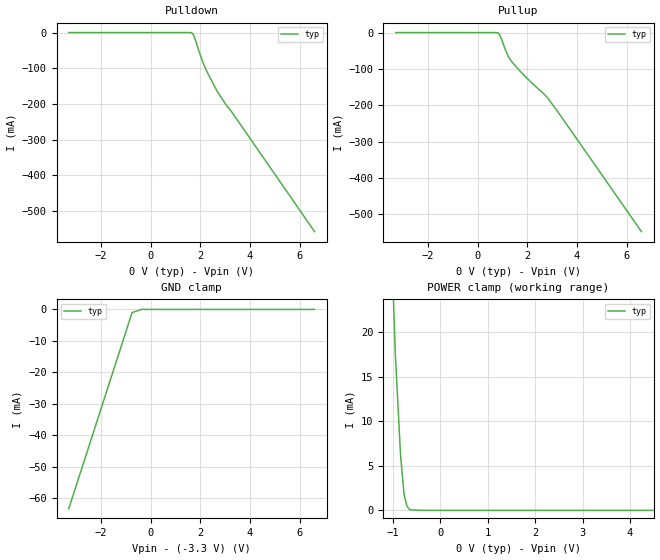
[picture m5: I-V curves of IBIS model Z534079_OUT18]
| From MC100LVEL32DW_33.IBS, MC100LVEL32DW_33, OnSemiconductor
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| (C) COPYRIGHT 1993-2000
| MENTOR GRAPHICS CORPORATION
| ICX STANDARD LIBRARY, ICX PROJECT MODELING,
| ICX CUSTOM MODELING, ICX VENDOR MODEL
| ALL RIGHTS RESERVED.
| THE FOLLOWING ARE TRADEMARKS OR SERVICE MARKS OF
| MENTOR GRAPHICS CORPORATION:ICX (R), ICX STANDARD
| LIBRARY(R), ICX PROJECT MODELING(R), ICX CUSTOM
| MODELING(R), qualityIBIS(TM), MODELVIEWER(TM),
| AND MODELEDITOR(TM)
| ALL COPIES OF SOFTWARE, INCLUDING BUT NOT LIMITED TO
| ANY MODIFICATIONS, ENHANCEMENTS OR DERIVATIVE WORKS,
| MUST CONTAIN ALL MENTOR GRAPHICS CORPORATION'S
| NOTICES AND LEGENDS, INCLUDING THOSE EMBEDDED IN
| SOFTWARE AND THOSE AFFIXED TO SOFTWARE MEDIUM
| AND CONTAINER, AS RECEIVED FROM MENTOR GRAPHICS
| CORPORATION.
| Model Application Version 1.89 2/18/99.
[Model] Z534079_OUT18
Model_type Output_ECL
Vref=-2.000V
Rref=50.00ohms
Cref=0.000F
Vmeas=-1.350V
C_comp 2.000pF NA NA
| variable typ   min   max
[Voltage Range] -3.300V NA NA
[POWER Clamp Reference] 0.000V NA NA
[Pullup Reference] 0.000V NA NA
[Pulldown Reference] 0.000V NA NA
[GND Clamp Reference] -3.300V NA NA
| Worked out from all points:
|   POWER clamp passes 1 mA (typ) near -0.73 V on its own axis
[GND Clamp]
-3.3V     -63.32mA   NA         NA
-752mV    -1.025mA   NA         NA
-376mV    0A         NA         NA
6.6V      0A         NA         NA
[Pulldown]
-3.3V     -11.97uA   NA         NA
1.562V    -26.39uA   NA         NA
1.681V    -2.801mA   NA         NA
1.718V    -6.228mA   NA         NA
1.787V    -17.83mA   NA         NA
1.929V    -49.88mA   NA         NA
2.111V    -85.63mA   NA         NA
2.301V    -114.5mA   NA         NA
2.671V    -164mA     NA         NA
3.049V    -203.7mA   NA         NA
3.256V    -221.5mA   NA         NA
6.6V      -557.1mA   NA         NA
[Pullup]
-3.3V     67.69uA    NA         NA
742.4mV   -50.08uA   NA         NA
839.5mV   -2.09mA    NA         NA
893.2mV   -6.916mA   NA         NA
947mV     -15.21mA   NA         NA
1.163V    -55.56mA   NA         NA
1.266V    -69.32mA   NA         NA
1.359V    -78.54mA   NA         NA
1.858V    -116.7mA   NA         NA
2.816V    -179.2mA   NA         NA
3.257V    -220.3mA   NA         NA
6.6V      -547.6mA   NA         NA
[POWER Clamp]
-3.3V     381.6mA    NA         NA
-948.3mV  17.5mA     NA         NA
-839.2mV  6.27mA     NA         NA
-765.5mV  1.819mA    NA         NA
-703mV    462.6uA    NA         NA
-644.5mV  58.21uA    NA         NA
-322.3mV  0A         NA         NA
6.6V      0A         NA         NA
[Ramp]
| variable typ min max
dV/dt_r 473.0m/415.1p NA NA
dV/dt_f 473.0m/385.9p NA NA
R_load = 50.0Ohms
